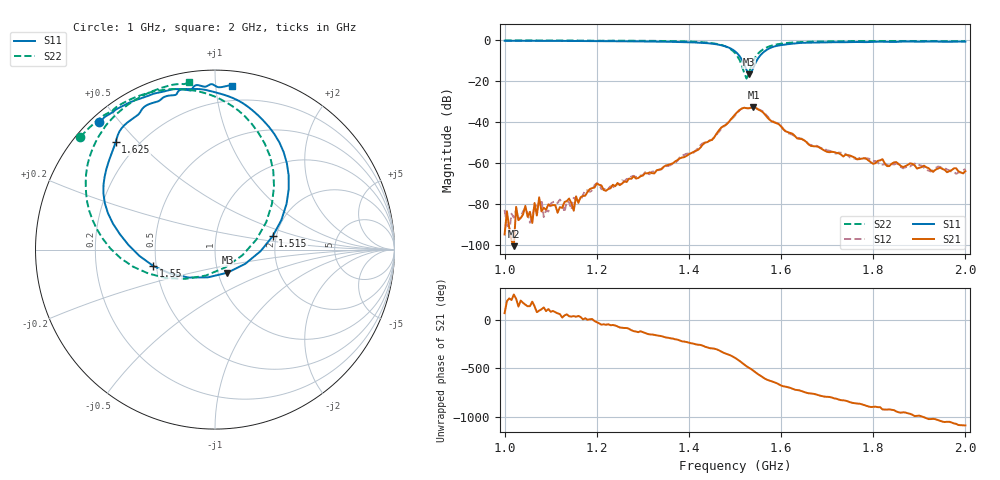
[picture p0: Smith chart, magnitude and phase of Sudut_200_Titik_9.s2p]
# Hz S RI R 50
! CMT, C1220, 16058040, 17.2.0/1
! Date: 14/08/2018 11:57:24
! Data: Format (Calibration Info)
! Freq  S11: Re/Im (F2)  S21: Re/Im (F2)  S12: Re/Im (F2)  S22: Re/Im (F2)
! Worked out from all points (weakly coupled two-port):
!   201 points, 1 GHz to 2 GHz, reference 50 ohm
!   highest |S21| = -32.95 dB at 1.54 GHz (marker M1); lowest = -100.7 dB at 1.02 GHz (marker M2)
!   lowest |S11| = -16.7 dB at 1.53 GHz (marker M3), VSWR 1.34, Z = 55.4 - j14.6 ohm
!   |S11| at or under -10 dB: 1.516 GHz to 1.547 GHz (31.53 MHz wide, 2.06 % of centre)
!   |S22| runs from -18.8 to -0.2 dB; largest |S21 - S12| = 0.00099
!   S11 on the Smith chart (normalised r, x): 1 GHz: 0.02, +0.44; 1.515 GHz: 1.91, +0.32; 1.55 GHz: 0.48, -0.10; 1.625 GHz: 0.12, +0.43; 2 GHz: 0.10, +1.10
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1e9  -0.6445 0.712  7.43e-06 1.62e-05  -7.11e-05 2.44e-06  -0.7497 0.6271
1.02e9  -0.6239 0.7283  -2.24e-06 -8.94e-06  -4.12e-05 2.03e-05  -0.7357 0.6423
1.07e9  -0.5713 0.7644  1.33e-05 4.99e-05  -9.04e-06 8.85e-05  -0.7004 0.679
1.075e9  -0.5658 0.768  -2.74e-06 0.000144  -3.75e-06 9.7e-05  -0.6961 0.6827
1.08e9  -0.5622 0.7712  -1.67e-05 6.28e-05  1.51e-05 0.000126  -0.692 0.6865
1.145e9  -0.4973 0.8092  8.99e-05 5.21e-05  3.07e-05 6.63e-05  -0.637 0.7341
1.17e9  -0.4723 0.821  0.000155 2.71e-06  0.000139 8.32e-05  -0.612 0.7523
1.2e9  -0.4295 0.8369  0.000278 -0.000145  0.000291 -0.000127  -0.578 0.7657
1.22e9  -0.41 0.8437  0.000123 -0.000167  9.17e-05 -0.000209  -0.567 0.7792
1.335e9  -0.2148 0.8942  -0.000662 -0.000164  -0.000655 -0.000106  -0.3954 0.866
1.45e9  0.1821 0.797  0.00165 0.00323  0.00189 0.00317  0.0271 0.8395
1.5e9  0.4108 0.3384  0.0128 -0.00816  0.0119 -0.0077  0.3288 0.3506
1.515e9  0.3216 0.0748  0.00244 -0.0211  0.00294 -0.0211  0.2301 0.0552
1.525e9  0.1688 -0.079  -0.0107 -0.0188  -0.0107 -0.019  0.057 -0.0994
1.53e9  0.069 -0.1288  -0.0148 -0.0156  -0.0149 -0.0158  -0.0513 -0.1447
1.54e9  -0.147 -0.1558  -0.0218 -0.00557  -0.0216 -0.00559  -0.2731 -0.1586
1.55e9  -0.3447 -0.0907  -0.019 0.00723  -0.0193 0.00647  -0.4556 -0.0956
1.58e9  -0.6136 0.2582  0.000738 0.0103  0.00119 0.0107  -0.7013 0.2178
1.625e9  -0.5534 0.5989  0.00505 0.000885  0.00479 0.000935  -0.6964 0.5224
1.67e9  -0.441 0.742  0.0019 -0.0017  0.00198 -0.0018  -0.6202 0.6738
1.835e9  -0.1452 0.887  -0.000775 0.000308  -0.000813 0.000394  -0.3698 0.8735
2e9  0.0938 0.9119  0.000623 -7.23e-05  0.000705 -0.000128  -0.1463 0.9311
